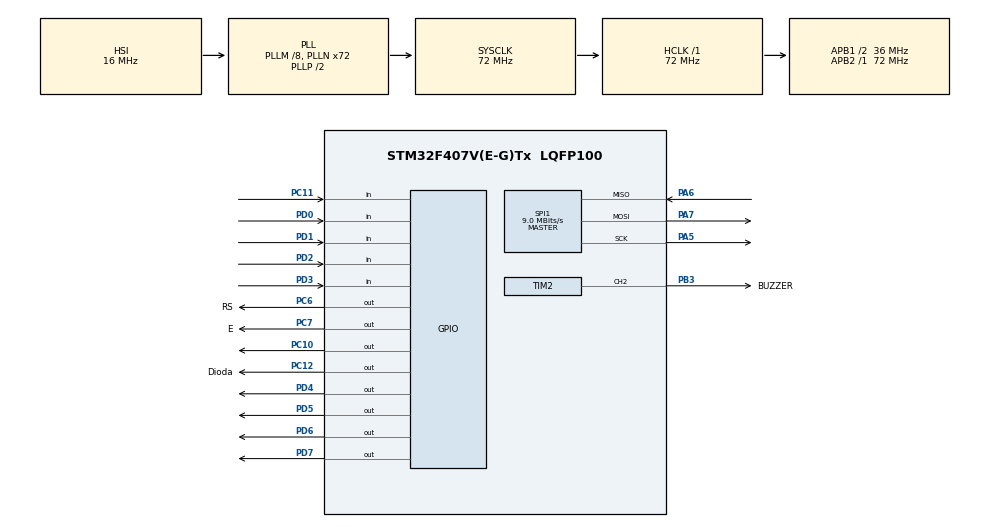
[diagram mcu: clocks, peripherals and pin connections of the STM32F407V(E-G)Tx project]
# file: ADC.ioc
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Mcu.Family=STM32F4
Mcu.Name=STM32F407V(E-G)Tx
Mcu.Package=LQFP100
NVIC.PriorityGroup=NVIC_PRIORITYGROUP_4
PA13.Mode=Serial_Wire
PA13.Signal=SYS_JTMS-SWDIO
PA14.Mode=Serial_Wire
PA14.Signal=SYS_JTCK-SWCLK
PA5.Mode=Full_Duplex_Master
PA5.Signal=SPI1_SCK
PA6.Mode=Full_Duplex_Master
PA6.Signal=SPI1_MISO
PA7.Mode=Full_Duplex_Master
PA7.Signal=SPI1_MOSI
PB3.GPIO_Label=BUZZER
PB3.Signal=S_TIM2_CH2
PC10.Signal=GPIO_Output
PC11.Signal=GPIO_Input
PC12.GPIO_Label=Dioda
PC12.Signal=GPIO_Output
PC6.GPIO_Label=RS
PC6.GPIO_Speed=GPIO_SPEED_FREQ_MEDIUM
PC6.Signal=GPIO_Output
PC7.GPIO_Label=E
PC7.GPIO_Speed=GPIO_SPEED_FREQ_MEDIUM
PC7.Signal=GPIO_Output
PD0.Signal=GPIO_Input
PD1.Signal=GPIO_Input
PD2.Signal=GPIO_Input
PD3.Signal=GPIO_Input
PD4.Signal=GPIO_Output
PD5.Signal=GPIO_Output
PD6.Signal=GPIO_Output
PD7.Signal=GPIO_Output
PH0-OSC_IN.Mode=HSE-External-Oscillator
PH0-OSC_IN.Signal=RCC_OSC_IN
PH1-OSC_OUT.Mode=HSE-External-Oscillator
PH1-OSC_OUT.Signal=RCC_OSC_OUT
ProjectManager.HeapSize=0x200
ProjectManager.StackSize=0x400
ProjectManager.TargetToolchain=STM32CubeIDE
RCC.48MHZClocksFreq_Value=36000000
RCC.AHBFreq_Value=72000000
RCC.APB1CLKDivider=RCC_HCLK_DIV2
RCC.APB1Freq_Value=36000000
RCC.APB1TimFreq_Value=72000000
RCC.APB2Freq_Value=72000000
RCC.APB2TimFreq_Value=72000000
RCC.CortexFreq_Value=72000000
RCC.HCLKFreq_Value=72000000
RCC.HSE_VALUE=8000000
RCC.HSI_VALUE=16000000
RCC.LSE_VALUE=32768
RCC.PLLM=8
RCC.PLLN=72
RCC.SYSCLKFreq_VALUE=72000000
RCC.SYSCLKSource=RCC_SYSCLKSOURCE_PLLCLK
RCC.VCOOutputFreq_Value=144000000
SH.S_TIM2_CH2.0=TIM2_CH2,PWM Generation2 CH2
SPI1.BaudRatePrescaler=SPI_BAUDRATEPRESCALER_8
SPI1.CRCCalculation=SPI_CRCCALCULATION_DISABLE
SPI1.CalculateBaudRate=9.0 MBits/s
SPI1.Direction=SPI_DIRECTION_2LINES
SPI1.Mode=SPI_MODE_MASTER
SPI1.VirtualType=VM_MASTER
TIM1.Prescaler=71
TIM2.Channel-PWM\ Generation2\ CH2=TIM_CHANNEL_2
TIM2.Period=1000-1
TIM2.Prescaler=36-1
VP_TIM1_VS_ClockSourceINT.Mode=Internal
VP_TIM2_VS_ClockSourceINT.Mode=Internal
board=custom

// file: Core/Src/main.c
/* USER CODE BEGIN Header */
/**
  ******************************************************************************
  * @file           : main.c
  * @brief          : Main program body
  ******************************************************************************
  * @attention
  *
  * Copyright (c) 2023 STMicroelectronics.
  * All rights reserved.
  *
  * This software is licensed under terms that can be found in the LICENSE file
  * in the root directory of this software component.
  * If no LICENSE file comes with this software, it is provided AS-IS.
  *
  ******************************************************************************
  */
/* USER CODE END Header */
#include "main.h"
#include "stm32f4_rc522.h"
#include "MY_Keypad4x4.h"
#include "buzzer.h"
#include "string.h"
#include <stdbool.h>

SPI_HandleTypeDef hspi1;

TIM_HandleTypeDef htim1;
TIM_HandleTypeDef htim2;

/* USER CODE BEGIN PV */
#define TRIG_PIN GPIO_PIN_10
#define TRIG_PORT GPIOC
#define ECHO_PIN GPIO_PIN_11
#define ECHO_PORT GPIOC
uint32_t pMillis;
uint32_t Value1 = 0;
uint32_t Value2 = 0;
uint16_t Distance  = 0;  // cm

uint8_t status;
uint8_t str[MAX_LEN]; // Max_LEN = 16
uint8_t serNum[5];
uint8_t Key_Card[5] = { 3, 88, 239, 11, 191 };
int check=0;
/* USER CODE END PV */

void SystemClock_Config(void);
static void MX_GPIO_Init(void);
static void MX_TIM1_Init(void);
static void MX_TIM2_Init(void);
static void MX_SPI1_Init(void);

/* USER CODE BEGIN 0 */
bool mySwitches[16];
char* key[4];
/* USER CODE END 0 */

int main(void)
{
  /* USER CODE BEGIN 1 */
 Keypad_WiresTypeDef myKeypadStruc;
 GPIO_InitTypeDef GPIO_InitStruct;
 	 __HAL_RCC_GPIOC_CLK_ENABLE();
 	GPIO_InitStruct.Pin = GPIO_PIN_4; //pc4--sda
 	GPIO_InitStruct.Mode = GPIO_MODE_OUTPUT_PP;
 	GPIO_InitStruct.Pull = GPIO_NOPULL;
 	GPIO_InitStruct.Speed = GPIO_SPEED_HIGH;
 	HAL_GPIO_Init(GPIOC, &GPIO_InitStruct);

	__HAL_RCC_GPIOA_CLK_ENABLE();
	GPIO_InitStruct.Pin = GPIO_PIN_4 | GPIO_PIN_15; //PA4 RESET
	GPIO_InitStruct.Mode = GPIO_MODE_OUTPUT_PP;
	GPIO_InitStruct.Pull = GPIO_NOPULL;
	GPIO_InitStruct.Speed = GPIO_SPEED_HIGH;
	HAL_GPIO_Init(GPIOA, &GPIO_InitStruct);
  /* USER CODE END 1 */

  /* MCU Configuration--------------------------------------------------------*/

  /* Reset of all peripherals, Initializes the Flash interface and the Systick. */
  HAL_Init();

  /* Configure the system clock */
  SystemClock_Config();

  /* Initialize all configured peripherals */
  MX_GPIO_Init();
  MX_TIM1_Init();
  MX_TIM2_Init();
  MX_SPI1_Init();
  /* USER CODE BEGIN 2 */
  myKeypadStruc.IN0_Port = GPIOD;
  myKeypadStruc.IN1_Port = GPIOD;
  myKeypadStruc.IN2_Port = GPIOD;
  myKeypadStruc.IN3_Port = GPIOD;

  myKeypadStruc.OUT0_Port= GPIOD;
  myKeypadStruc.OUT1_Port= GPIOD;
  myKeypadStruc.OUT2_Port= GPIOD;
  myKeypadStruc.OUT3_Port= GPIOD;

  myKeypadStruc.IN0pin= GPIO_PIN_0;
  myKeypadStruc.IN1pin= GPIO_PIN_1;
  myKeypadStruc.IN2pin= GPIO_PIN_2;
  myKeypadStruc.IN3pin= GPIO_PIN_3;

  myKeypadStruc.OUT0pin= GPIO_PIN_4;
  myKeypadStruc.OUT1pin= GPIO_PIN_5;
  myKeypadStruc.OUT2pin= GPIO_PIN_6;
  myKeypadStruc.OUT3pin= GPIO_PIN_7;

 Keypad4x4_Init(&myKeypadStruc);
  HAL_TIM_Base_Start(&htim1);
   HAL_GPIO_WritePin(TRIG_PORT, TRIG_PIN, GPIO_PIN_RESET);  // pull the TRIG pin low
 // lcd16x2_init_4bits(RS_GPIO_Port, RS_Pin, E_Pin,D4_GPIO_Port, D4_Pin, D5_Pin, D6_Pin, D7_Pin);
  /* USER CODE END 2 */
   BUZZER_Init();
   MFRC522_Init();
  /* Infinite loop */
  /* USER CODE BEGIN WHILE */
  while (1)
  {

	  HAL_GPIO_WritePin(TRIG_PORT, TRIG_PIN, GPIO_PIN_SET);  // pull the TRIG pin HIGH
  __HAL_TIM_SET_COUNTER(&htim1, 0);
  while (__HAL_TIM_GET_COUNTER (&htim1) < 10);  // wait for 10 us
  HAL_GPIO_WritePin(TRIG_PORT, TRIG_PIN, GPIO_PIN_RESET);  // pull the TRIG pin low

  pMillis = HAL_GetTick(); // used this to avoid infinite while loop  (for timeout)
  // wait for the echo pin to go high
  while (!(HAL_GPIO_ReadPin (ECHO_PORT, ECHO_PIN)) && pMillis + 10 >  HAL_GetTick());
  Value1 = __HAL_TIM_GET_COUNTER (&htim1);

  pMillis = HAL_GetTick(); // used this to avoid infinite while loop (for timeout)
  // wait for the echo pin to go low
  while ((HAL_GPIO_ReadPin (ECHO_PORT, ECHO_PIN)) && pMillis + 50 > HAL_GetTick());
  Value2 = __HAL_TIM_GET_COUNTER (&htim1);

  Distance = (Value2-Value1)* 0.034/2;

  status = MFRC522_Request(PICC_REQIDL, str);	//MFRC522_Request(0x26, str)
 	  		status = MFRC522_Anticoll(str);	//Take a collision, look up 5 bytes
 	  		memcpy(serNum, str, 5);	//function for c language:(para1:that place save data,para2:the the source of data,para3:size)
 	  		if (status == MI_OK) {
 	  //*******************************Read and write on block tag*************************//
 	  if ((str[0] ==67) && (str[1] == 177) && (str[2] == 202) && (str[3] == 18) && (str[4] == 42)) {
 		  check =1 ;
 	  }
 	  else check=0;
 	  }
  if (Distance < 10 && check == 0) {
      HAL_GPIO_WritePin(Dioda_GPIO_Port, Dioda_Pin, 1);
      BUZZER_Go(TBUZ_200, TICK_12);

      uint8_t keyIndex = 0;  // Index for the key array

      while (HAL_GPIO_ReadPin(Dioda_GPIO_Port, Dioda_Pin) == GPIO_PIN_SET) {

    	  Keypad4x4_ReadKeypad(mySwitches);// Infinite loop until the password is checked
          uint8_t buttonPressed = 0;  // Flag to track if a button is pressed

          for (uint8_t i = 0; i < 16; i++) {
              if (mySwitches[i]) {
                  key[keyIndex++] = Keypad4x4_GetChar(i);
                  HAL_Delay(500);
                 buttonPressed = 1;  // Set the flag to indicate a button is pressed
              }
          }

          if (buttonPressed) {
              if (keyIndex==4 && key[0] == 0x8004614   && key[1] == 0x8004618   && key[2] == 0x8004624     && key[3] == 0x800464c) {
                  HAL_GPIO_WritePin(Dioda_GPIO_Port, Dioda_Pin, 0);
                  BUZZER_Go(TBUZ_20, TICK_1);
                  BUZZER_Off();
                  HAL_Delay(200);
              }

              if (keyIndex >= 4) {
            	  for(auto k=0;k<4;k++)key[k]=0;
                  keyIndex = 0;  // Reset the key index if the password is incorrect
              }
          }
      }
  }
 else if(check==1){
 HAL_Delay(5000);
 check =0;
  }

  HAL_Delay(50);
    /* USER CODE END WHILE */

  }
}

void SystemClock_Config(void)
{
  RCC_OscInitTypeDef RCC_OscInitStruct = {0};
  RCC_ClkInitTypeDef RCC_ClkInitStruct = {0};

  /** Configure the main internal regulator output voltage
  */
  __HAL_RCC_PWR_CLK_ENABLE();
  __HAL_PWR_VOLTAGESCALING_CONFIG(PWR_REGULATOR_VOLTAGE_SCALE1);

  /** Initializes the RCC Oscillators according to the specified parameters
  * in the RCC_OscInitTypeDef structure.
  */
  RCC_OscInitStruct.OscillatorType = RCC_OSCILLATORTYPE_HSI;
  RCC_OscInitStruct.HSIState = RCC_HSI_ON;
  RCC_OscInitStruct.HSICalibrationValue = RCC_HSICALIBRATION_DEFAULT;
  RCC_OscInitStruct.PLL.PLLState = RCC_PLL_ON;
  RCC_OscInitStruct.PLL.PLLSource = RCC_PLLSOURCE_HSI;
  RCC_OscInitStruct.PLL.PLLM = 8;
  RCC_OscInitStruct.PLL.PLLN = 72;
  RCC_OscInitStruct.PLL.PLLP = RCC_PLLP_DIV2;
  RCC_OscInitStruct.PLL.PLLQ = 4;
  if (HAL_RCC_OscConfig(&RCC_OscInitStruct) != HAL_OK)
  {
    Error_Handler();
  }

  /** Initializes the CPU, AHB and APB buses clocks
  */
  RCC_ClkInitStruct.ClockType = RCC_CLOCKTYPE_HCLK|RCC_CLOCKTYPE_SYSCLK
                              |RCC_CLOCKTYPE_PCLK1|RCC_CLOCKTYPE_PCLK2;
  RCC_ClkInitStruct.SYSCLKSource = RCC_SYSCLKSOURCE_PLLCLK;
  RCC_ClkInitStruct.AHBCLKDivider = RCC_SYSCLK_DIV1;
  RCC_ClkInitStruct.APB1CLKDivider = RCC_HCLK_DIV2;
  RCC_ClkInitStruct.APB2CLKDivider = RCC_HCLK_DIV1;

  if (HAL_RCC_ClockConfig(&RCC_ClkInitStruct, FLASH_LATENCY_2) != HAL_OK)
  {
    Error_Handler();
  }
}

static void MX_SPI1_Init(void)
{

  /* SPI1 parameter configuration*/
  hspi1.Instance = SPI1;
  hspi1.Init.Mode = SPI_MODE_MASTER;
  hspi1.Init.Direction = SPI_DIRECTION_2LINES;
  hspi1.Init.DataSize = SPI_DATASIZE_8BIT;
  hspi1.Init.CLKPolarity = SPI_POLARITY_LOW;
  hspi1.Init.CLKPhase = SPI_PHASE_1EDGE;
  hspi1.Init.NSS = SPI_NSS_SOFT;
  hspi1.Init.BaudRatePrescaler = SPI_BAUDRATEPRESCALER_8;
  hspi1.Init.FirstBit = SPI_FIRSTBIT_MSB;
  hspi1.Init.TIMode = SPI_TIMODE_DISABLE;
  hspi1.Init.CRCCalculation = SPI_CRCCALCULATION_DISABLE;
  hspi1.Init.CRCPolynomial = 10;
  if (HAL_SPI_Init(&hspi1) != HAL_OK)
  {
    Error_Handler();
  }

}

static void MX_TIM1_Init(void)
{

  TIM_ClockConfigTypeDef sClockSourceConfig = {0};
  TIM_MasterConfigTypeDef sMasterConfig = {0};

  htim1.Instance = TIM1;
  htim1.Init.Prescaler = 71;
  htim1.Init.CounterMode = TIM_COUNTERMODE_UP;
  htim1.Init.Period = 65535;
  htim1.Init.ClockDivision = TIM_CLOCKDIVISION_DIV1;
  htim1.Init.RepetitionCounter = 0;
  htim1.Init.AutoReloadPreload = TIM_AUTORELOAD_PRELOAD_DISABLE;
  if (HAL_TIM_Base_Init(&htim1) != HAL_OK)
  {
    Error_Handler();
  }
  sClockSourceConfig.ClockSource = TIM_CLOCKSOURCE_INTERNAL;
  if (HAL_TIM_ConfigClockSource(&htim1, &sClockSourceConfig) != HAL_OK)
  {
    Error_Handler();
  }
  sMasterConfig.MasterOutputTrigger = TIM_TRGO_RESET;
  sMasterConfig.MasterSlaveMode = TIM_MASTERSLAVEMODE_DISABLE;
  if (HAL_TIMEx_MasterConfigSynchronization(&htim1, &sMasterConfig) != HAL_OK)
  {
    Error_Handler();
  }

}

static void MX_TIM2_Init(void)
{

  TIM_ClockConfigTypeDef sClockSourceConfig = {0};
  TIM_MasterConfigTypeDef sMasterConfig = {0};
  TIM_OC_InitTypeDef sConfigOC = {0};

  htim2.Instance = TIM2;
  htim2.Init.Prescaler = 36-1;
  htim2.Init.CounterMode = TIM_COUNTERMODE_UP;
  htim2.Init.Period = 1000-1;
  htim2.Init.ClockDivision = TIM_CLOCKDIVISION_DIV1;
  htim2.Init.AutoReloadPreload = TIM_AUTORELOAD_PRELOAD_DISABLE;
  if (HAL_TIM_Base_Init(&htim2) != HAL_OK)
  {
    Error_Handler();
  }
  sClockSourceConfig.ClockSource = TIM_CLOCKSOURCE_INTERNAL;
  if (HAL_TIM_ConfigClockSource(&htim2, &sClockSourceConfig) != HAL_OK)
  {
    Error_Handler();
  }
  if (HAL_TIM_PWM_Init(&htim2) != HAL_OK)
  {
    Error_Handler();
  }
  sMasterConfig.MasterOutputTrigger = TIM_TRGO_RESET;
  sMasterConfig.MasterSlaveMode = TIM_MASTERSLAVEMODE_DISABLE;
  if (HAL_TIMEx_MasterConfigSynchronization(&htim2, &sMasterConfig) != HAL_OK)
  {
    Error_Handler();
  }
  sConfigOC.OCMode = TIM_OCMODE_PWM1;
  sConfigOC.Pulse = 0;
  sConfigOC.OCPolarity = TIM_OCPOLARITY_HIGH;
  sConfigOC.OCFastMode = TIM_OCFAST_DISABLE;
  if (HAL_TIM_PWM_ConfigChannel(&htim2, &sConfigOC, TIM_CHANNEL_2) != HAL_OK)
  {
    Error_Handler();
  }
  HAL_TIM_MspPostInit(&htim2);

}

static void MX_GPIO_Init(void)
{
  GPIO_InitTypeDef GPIO_InitStruct = {0};

  /* GPIO Ports Clock Enable */
  __HAL_RCC_GPIOH_CLK_ENABLE();
  __HAL_RCC_GPIOA_CLK_ENABLE();
  __HAL_RCC_GPIOC_CLK_ENABLE();
  __HAL_RCC_GPIOD_CLK_ENABLE();
  __HAL_RCC_GPIOB_CLK_ENABLE();

  /*Configure GPIO pin Output Level */
  HAL_GPIO_WritePin(GPIOC, RS_Pin|E_Pin|GPIO_PIN_10|Dioda_Pin, GPIO_PIN_RESET);

  /*Configure GPIO pin Output Level */
  HAL_GPIO_WritePin(GPIOD, GPIO_PIN_4|GPIO_PIN_5|GPIO_PIN_6|GPIO_PIN_7, GPIO_PIN_RESET);

  /*Configure GPIO pins : RS_Pin E_Pin */
  GPIO_InitStruct.Pin = RS_Pin|E_Pin;
  GPIO_InitStruct.Mode = GPIO_MODE_OUTPUT_PP;
  GPIO_InitStruct.Pull = GPIO_NOPULL;
  GPIO_InitStruct.Speed = GPIO_SPEED_FREQ_MEDIUM;
  HAL_GPIO_Init(GPIOC, &GPIO_InitStruct);

  /*Configure GPIO pins : PC10 Dioda_Pin */
  GPIO_InitStruct.Pin = GPIO_PIN_10|Dioda_Pin;
  GPIO_InitStruct.Mode = GPIO_MODE_OUTPUT_PP;
  GPIO_InitStruct.Pull = GPIO_NOPULL;
  GPIO_InitStruct.Speed = GPIO_SPEED_FREQ_LOW;
  HAL_GPIO_Init(GPIOC, &GPIO_InitStruct);

  /*Configure GPIO pin : PC11 */
  GPIO_InitStruct.Pin = GPIO_PIN_11;
  GPIO_InitStruct.Mode = GPIO_MODE_INPUT;
  GPIO_InitStruct.Pull = GPIO_NOPULL;
  HAL_GPIO_Init(GPIOC, &GPIO_InitStruct);

  /*Configure GPIO pins : PD0 PD1 PD2 PD3 */
  GPIO_InitStruct.Pin = GPIO_PIN_0|GPIO_PIN_1|GPIO_PIN_2|GPIO_PIN_3;
  GPIO_InitStruct.Mode = GPIO_MODE_INPUT;
  GPIO_InitStruct.Pull = GPIO_NOPULL;
  HAL_GPIO_Init(GPIOD, &GPIO_InitStruct);

  /*Configure GPIO pins : PD4 PD5 PD6 PD7 */
  GPIO_InitStruct.Pin = GPIO_PIN_4|GPIO_PIN_5|GPIO_PIN_6|GPIO_PIN_7;
  GPIO_InitStruct.Mode = GPIO_MODE_OUTPUT_PP;
  GPIO_InitStruct.Pull = GPIO_NOPULL;
  GPIO_InitStruct.Speed = GPIO_SPEED_FREQ_LOW;
  HAL_GPIO_Init(GPIOD, &GPIO_InitStruct);

}

/* USER CODE BEGIN 4 */
void  HAL_SYSTICK_Callback(void){
	BUZZER_Handler();
}
/* USER CODE END 4 */

void Error_Handler(void)
{
  __disable_irq();
  while (1)
  {
  }
}
